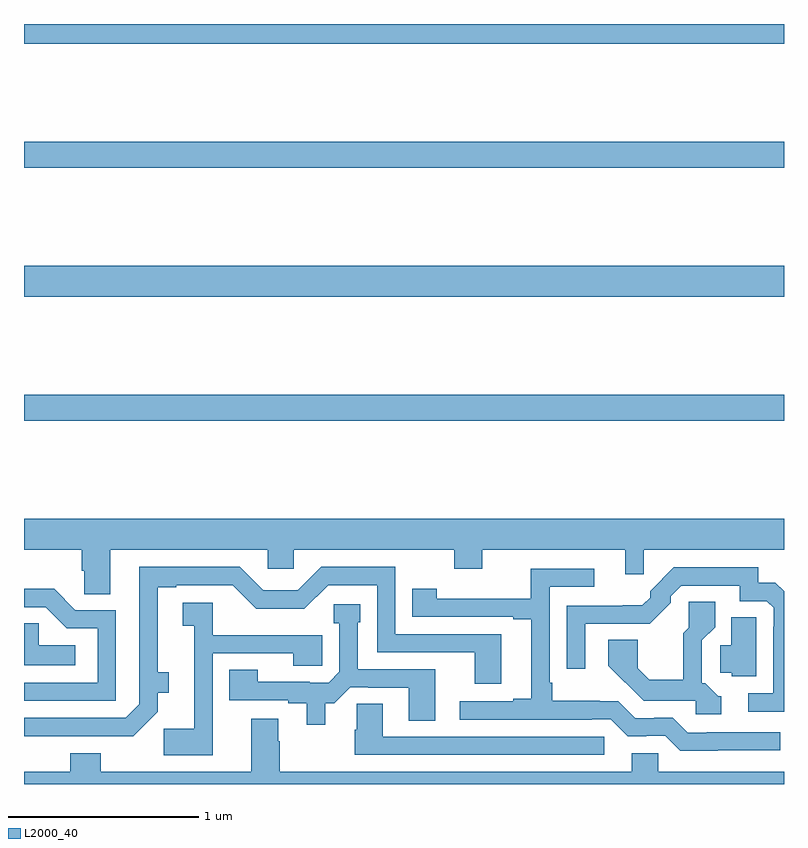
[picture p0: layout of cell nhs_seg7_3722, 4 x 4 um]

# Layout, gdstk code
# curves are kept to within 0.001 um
import gdstk
lib = gdstk.Library(unit=1e-6, precision=1e-09)
def R(c, l, rs):  # rectangles x0, y0, x1, y1
    for r in rs: c.add(gdstk.rectangle(r[:2], r[2:], *l))
def P(c, l, *ps):  # polygons
    for p in ps: c.add(gdstk.Polygon(p, *l))
L2000_40 = (2000, 40)

nhs_seg7_3722 = lib.new_cell('nhs_seg7_3722')
R(nhs_seg7_3722, L2000_40, [(347,1051.912,351,1052.048), (347,1052.564,351,1052.728), (347,1053.244,351,1053.38), (347,1053.896,351,1054)])
P(nhs_seg7_3722, L2000_40, [(347.455,1051.232),(348.282,1051.232),(348.282,1051.134),(348.42,1051.134),(348.42,1051.232),(349.264,1051.232),(349.264,1051.133),(349.411,1051.133),(349.411,1051.232),(350.165,1051.232),(350.165,1051.103),(350.261,1051.103),(350.261,1051.232),(351,1051.232),(351,1051.396),(347,1051.396),(347,1051.232),(347.303,1051.232),(347.303,1051.123),(347.316,1051.123),(347.316,1051),(347.455,1051)],
  [(347.159,1050.252),(347.575,1050.251),(347.705,1050.38),(347.705,1050.479),(347.761,1050.479),(347.761,1050.589),(347.704,1050.589),(347.704,1051.035),(347.8,1051.035),(347.8,1051.047),(348.098,1051.047),(348.222,1050.923),(348.476,1050.923),(348.6,1051.047),(348.858,1051.047),(348.858,1050.693),(349.373,1050.693),(349.373,1050.528),(349.513,1050.528),(349.513,1050.789),(348.954,1050.789),(348.954,1051.143),(348.564,1051.143),(348.441,1051.02),(348.258,1051.02),(348.135,1051.143),(347.607,1051.143),(347.607,1050.42),(347.535,1050.348),(347,1050.348),(347,1050.251)],
  [(351,1051.014),(350.954,1051.06),(350.865,1051.06),(350.865,1051.14),(350.42,1051.14),(350.295,1051.015),(350.295,1050.981),(350.254,1050.94),(349.857,1050.939),(349.857,1050.606),(349.953,1050.606),(349.953,1050.843),(350.293,1050.843),(350.403,1050.953),(350.403,1050.987),(350.46,1051.044),(350.766,1051.044),(350.766,1050.963),(350.91,1050.963),(350.946,1050.927),(350.946,1050.827),(350.943,1050.827),(350.943,1050.477),(350.811,1050.477),(350.811,1050.381),(351,1050.381)],
  [(350.651,1050.177),(350.98,1050.177),(350.98,1050.273),(350.593,1050.273),(350.593,1050.27),(350.493,1050.27),(350.415,1050.348),(350.318,1050.348),(350.318,1050.345),(350.217,1050.345),(350.127,1050.435),(350.03,1050.435),(350.03,1050.439),(349.78,1050.439),(349.78,1050.532),(349.767,1050.532),(349.767,1051.038),(350.002,1051.038),(350.002,1051.134),(349.666,1051.134),(349.666,1050.976),(349.172,1050.976),(349.172,1051.027),(349.044,1051.027),(349.044,1050.879),(349.574,1050.879),(349.574,1050.867),(349.67,1050.867),(349.67,1050.448),(349.574,1050.448),(349.574,1050.435),(349.293,1050.435),(349.293,1050.339),(349.988,1050.339),(349.988,1050.342),(350.088,1050.342),(350.178,1050.252),(350.276,1050.252),(350.276,1050.255),(350.376,1050.255),(350.455,1050.176)],
  [(347.484,1050.915),(347.271,1050.915),(347.158,1051.028),(347,1051.028),(347,1050.93),(347.115,1050.93),(347.226,1050.819),(347.388,1050.819),(347.388,1050.534),(347,1050.534),(347,1050.438),(347.484,1050.438)],
  [(350.671,1050.462),(350.655,1050.462),(350.586,1050.531),(350.568,1050.531),(350.568,1050.756),(350.638,1050.826),(350.638,1050.958),(350.499,1050.958),(350.499,1050.823),(350.47,1050.794),(350.47,1050.549),(350.291,1050.549),(350.23,1050.61),(350.23,1050.758),(350.076,1050.758),(350.076,1050.622),(350.261,1050.438),(350.535,1050.438),(350.535,1050.366),(350.671,1050.366)],
  [(347.994,1050.687),(348.418,1050.687),(348.418,1050.622),(348.571,1050.622),(348.571,1050.783),(348.461,1050.783),(348.461,1050.784),(347.994,1050.784),(347.994,1050.955),(347.835,1050.955),(347.835,1050.834),(347.897,1050.834),(347.897,1050.291),(347.736,1050.291),(347.736,1050.152),(347.994,1050.152)],
  [(348.586,1050.426),(348.633,1050.426),(348.717,1050.51),(348.811,1050.51),(348.811,1050.507),(349.025,1050.507),(349.025,1050.334),(349.165,1050.334),(349.165,1050.603),(348.756,1050.603),(348.756,1050.852),(348.769,1050.852),(348.769,1050.945),(348.63,1050.945),(348.63,1050.847),(348.66,1050.847),(348.66,1050.591),(348.603,1050.534),(348.503,1050.534),(348.503,1050.537),(348.231,1050.537),(348.231,1050.602),(348.079,1050.602),(348.079,1050.441),(348.392,1050.441),(348.392,1050.426),(348.488,1050.426),(348.488,1050.312),(348.586,1050.312)],
  [(350.853,1050.878),(350.723,1050.878),(350.723,1050.731),(350.664,1050.731),(350.664,1050.585),(350.724,1050.585),(350.724,1050.566),(350.853,1050.566)],
  [(347.269,1050.73),(347.077,1050.73),(347.077,1050.845),(347,1050.845),(347,1050.626),(347.269,1050.626)],
  [(350.053,1050.249),(348.889,1050.249),(348.889,1050.422),(348.751,1050.422),(348.751,1050.285),(348.742,1050.285),(348.742,1050.153),(350.053,1050.153)],
  [(351,1050.064),(350.337,1050.064),(350.337,1050.162),(350.198,1050.162),(350.198,1050.064),(348.345,1050.064),(348.345,1050.224),(348.337,1050.224),(348.337,1050.343),(348.197,1050.343),(348.197,1050.064),(347.403,1050.064),(347.403,1050.163),(347.243,1050.163),(347.243,1050.064),(347,1050.064),(347,1050),(351,1050)])

lib.write_gds('nhs_seg7_3722.gds')
